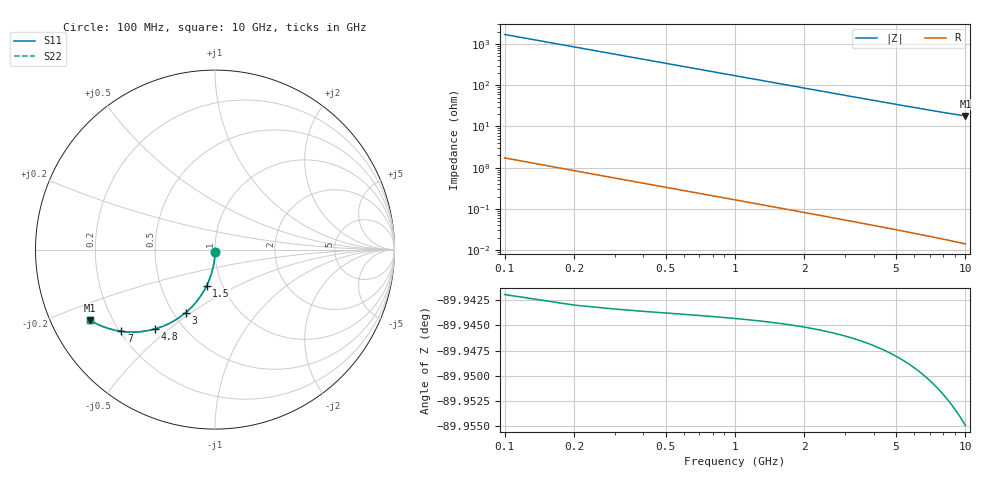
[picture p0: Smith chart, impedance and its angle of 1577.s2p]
# Hz S RI R 50.00
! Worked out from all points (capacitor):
!   100 points, 100 MHz to 10 GHz, reference 50 ohm
!   read as one part in shunt: C = 932 fF near 100 MHz
!   lowest |Z| = 18 ohm at 10 GHz (marker M1)
!   S11 on the Smith chart (normalised r, x): 100 MHz: 1.00, -0.03; 1.5 GHz: 0.84, -0.35; 3 GHz: 0.58, -0.48; 4.8 GHz: 0.35, -0.45; 7 GHz: 0.21, -0.36; 10 GHz: 0.12, -0.26
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1e8  -0.000115 -0.014  0.9997 -0.0152  0.9997 -0.0152  -0.000115 -0.014
2e8  -0.00077 -0.028  0.999 -0.0305  0.999 -0.0305  -0.00077 -0.028
3e8  -0.00185 -0.042  0.9979 -0.0456  0.9979 -0.0456  -0.00185 -0.042
4e8  -0.00335 -0.0559  0.9964 -0.0608  0.9964 -0.0608  -0.00335 -0.0559
5e8  -0.00528 -0.0698  0.9945 -0.0758  0.9945 -0.0758  -0.00528 -0.0698
6e8  -0.00761 -0.0835  0.9921 -0.0908  0.9921 -0.0908  -0.00761 -0.0835
7e8  -0.0104 -0.0972  0.9894 -0.1057  0.9894 -0.1057  -0.0104 -0.0972
9e8  -0.0171 -0.1241  0.9826 -0.135  0.9826 -0.135  -0.0171 -0.1241
1.2e9  -0.03 -0.1632  0.9697 -0.1778  0.9697 -0.1778  -0.03 -0.1632
1.5e9  -0.0461 -0.2006  0.9535 -0.2188  0.9535 -0.2188  -0.0461 -0.2006
1.8e9  -0.0652 -0.2358  0.9343 -0.2577  0.9343 -0.2577  -0.0652 -0.2358
2.4e9  -0.1105 -0.2989  0.8888 -0.3281  0.8888 -0.3281  -0.1105 -0.2989
3e9  -0.163 -0.351  0.8361 -0.3876  0.8361 -0.3876  -0.163 -0.351
3.4e9  -0.2004 -0.3795  0.7984 -0.421  0.7984 -0.421  -0.2004 -0.3795
4.1e9  -0.268 -0.4176  0.7305 -0.468  0.7305 -0.468  -0.268 -0.4176
4.8e9  -0.3352 -0.4423  0.6628 -0.5015  0.6628 -0.5015  -0.3352 -0.4423
5.1e9  -0.3632 -0.4493  0.6346 -0.5122  0.6346 -0.5122  -0.3632 -0.4493
5.9e9  -0.4344 -0.4588  0.5627 -0.5319  0.5627 -0.5319  -0.4344 -0.4588
6.7e9  -0.4991 -0.4577  0.4971 -0.5413  0.4971 -0.5413  -0.4991 -0.4577
7e9  -0.5216 -0.4552  0.4743 -0.5427  0.4743 -0.5427  -0.5216 -0.4552
8.4e9  -0.6137 -0.4326  0.3804 -0.5387  0.3804 -0.5387  -0.6137 -0.4326
1e10  -0.6953 -0.3939  0.2962 -0.522  0.2962 -0.522  -0.6953 -0.3939
